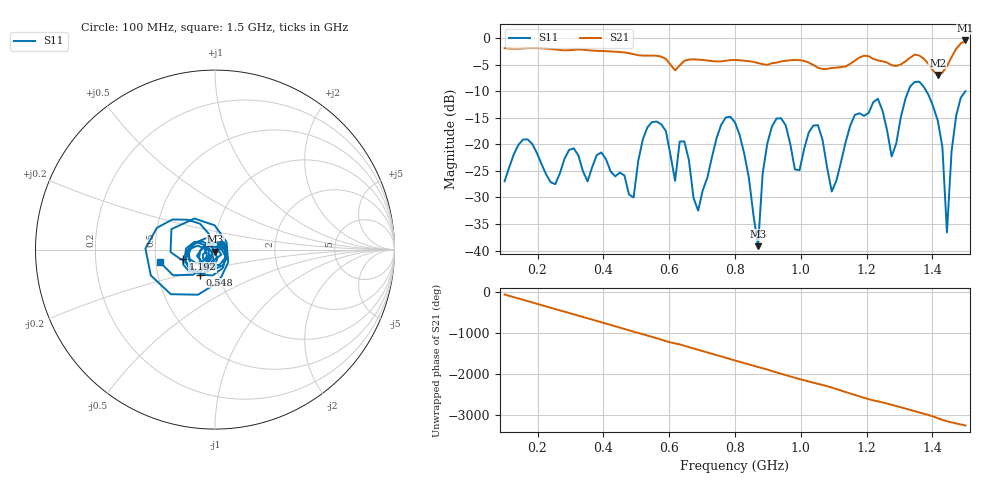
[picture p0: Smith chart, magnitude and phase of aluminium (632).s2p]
! NanoVNA-App
! Date: 2025-09-25 15:00:12
! Start: 100MHz Stop: 1,5GHz Points: 101
! S-Parameter data: F S11 S21 S12 S22
# Hz S RI R 50
!  Frequency  S11_Real  S11_Imag  S21_Real  S21_Imag  S12_Real  S12_Imag  S22_Real  S22_Imag
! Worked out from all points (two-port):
!   101 points, 100 MHz to 1.5 GHz, reference 50 ohm
!   highest |S21| = -0.47 dB at 1.5 GHz (marker M1); lowest = -7.0 dB at 1.416 GHz (marker M2)
!   |S21| within 3 dB of the highest: start of sweep to 571.8 MHz; 1.459 GHz to end of sweep (the widest 2 of 4)
!   lowest |S11| = -39.2 dB at 870 MHz (marker M3), VSWR 1.02, Z = 50.2 - j1.09 ohm
!   |S11| at or under -10 dB: start of sweep to 1.327 GHz; 1.381 GHz to end of sweep
!   S12 and S22 are empty: the file has one direction only
!   S11 on the Smith chart (normalised r, x): 100 MHz: 1.07, +0.06; 548 MHz: 0.82, -0.23; 1.192 GHz: 0.70, -0.07; 1.5 GHz: 0.53, -0.08
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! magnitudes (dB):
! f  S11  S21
! 100 MHz  -27.0  -1.9
! 156 MHz  -19.1  -2.0
! 338 MHz  -25.1  -2.2
! 492 MHz  -30.0  -3.1
! 548 MHz  -15.8  -3.3
! 576 MHz  -16.2  -3.5
! 646 MHz  -19.5  -4.3
! 688 MHz  -32.5  -4.1
! 800 MHz  -15.9  -4.1
! 870 MHz  -39.2  -4.7
! 912 MHz  -16.7  -4.7
! 996 MHz  -24.9  -4.2
! 1.038 GHz  -16.5  -5.1
! 1.094 GHz  -28.9  -5.6
! 1.192 GHz  -14.7  -3.3
! 1.234 GHz  -11.4  -4.2
! 1.276 GHz  -22.3  -5.1
! 1.346 GHz  -8.3  -3.1
! 1.416 GHz  -15.5  -7.0
! 1.444 GHz  -36.6  -5.3
! 1.472 GHz  -14.6  -2.1
! 1.5 GHz  -10.0  -0.5
